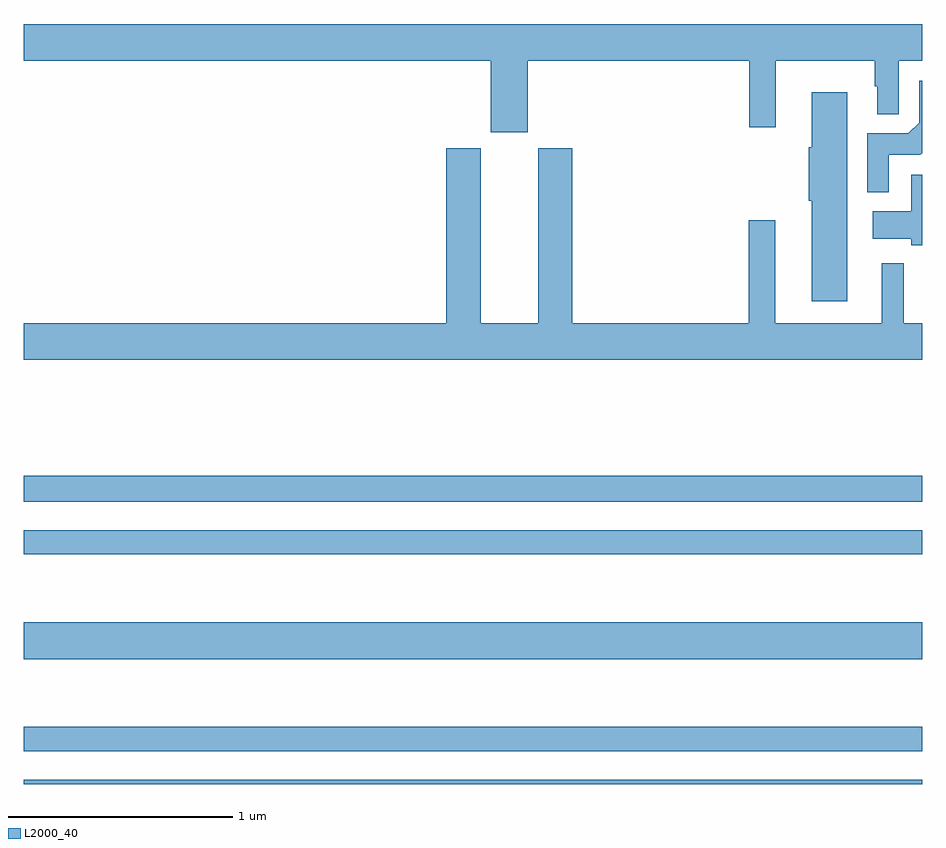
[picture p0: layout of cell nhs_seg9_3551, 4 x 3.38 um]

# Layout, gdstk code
import gdstk
lib = gdstk.Library(unit=1e-6, precision=1e-09)
def R(c, l, rs):  # rectangles x0, y0, x1, y1
    for r in rs: c.add(gdstk.rectangle(r[:2], r[2:], *l))
def P(c, l, *ps):  # polygons
    for p in ps: c.add(gdstk.Polygon(p, *l))
L2000_40 = (2000, 40)

nhs_seg9_3551 = lib.new_cell('nhs_seg9_3551')
R(nhs_seg9_3551, L2000_40, [(313,1226.5,317,1226.52), (313,1226.646,317,1226.755), (313,1227.056,317,1227.22), (313,1227.522,317,1227.63), (313,1227.756,317,1227.872)])
P(nhs_seg9_3551, L2000_40, [(315.244,1229.72),(316.231,1229.72),(316.231,1229.424),(316.348,1229.424),(316.348,1229.72),(316.788,1229.72),(316.788,1229.607),(316.799,1229.607),(316.799,1229.482),(316.896,1229.482),(316.896,1229.72),(317,1229.72),(317,1229.884),(313,1229.884),(313,1229.72),(315.08,1229.72),(315.08,1229.403),(315.244,1229.403)],
  [(316.851,1229.301),(316.992,1229.301),(317,1229.309),(317,1229.631),(316.986,1229.631),(316.986,1229.445),(316.938,1229.397),(316.755,1229.397),(316.755,1229.135),(316.851,1229.135)],
  [(316.666,1229.581),(316.508,1229.581),(316.508,1229.336),(316.496,1229.336),(316.496,1229.098),(316.508,1229.098),(316.508,1228.65),(316.666,1228.65)],
  [(317,1228.552),(316.918,1228.552),(316.918,1228.819),(316.82,1228.819),(316.82,1228.552),(316.345,1228.552),(316.345,1229.011),(316.228,1229.011),(316.228,1228.552),(315.443,1228.552),(315.443,1229.331),(315.29,1229.331),(315.29,1228.552),(315.034,1228.552),(315.034,1229.331),(314.882,1229.331),(314.882,1228.552),(313,1228.552),(313,1228.388),(317,1228.388)],
  [(317,1229.212),(316.952,1229.212),(316.952,1229.05),(316.779,1229.05),(316.779,1228.928),(316.952,1228.928),(316.952,1228.898),(317,1228.898)])

lib.write_gds('nhs_seg9_3551.gds')
